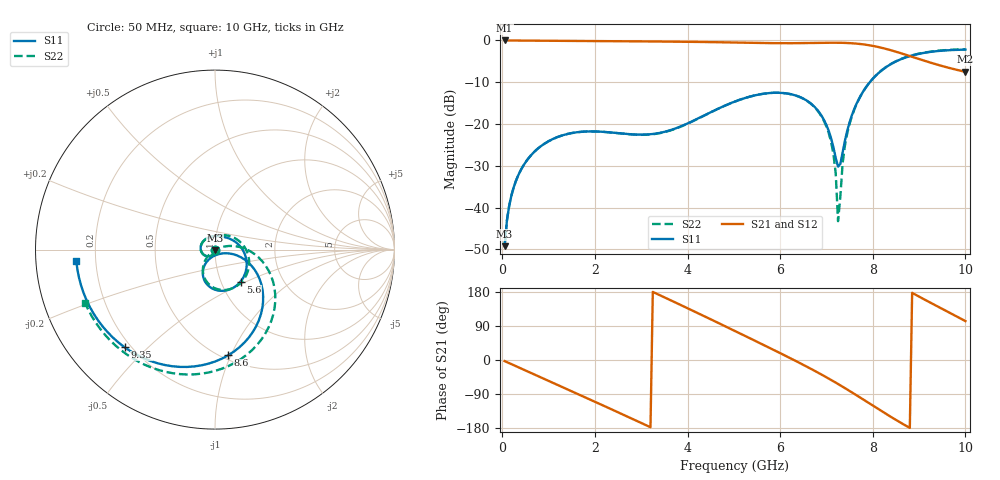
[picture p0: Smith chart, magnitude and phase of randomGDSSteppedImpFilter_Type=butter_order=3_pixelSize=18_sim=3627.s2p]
! freq	dB(S11)	phase(S11)	dB(S12)	phase(S12)
!  dB(S21)	phase(S21)	dB(S22)	phase(S22)
!S-par simulation data
#  GHz  S  DB  R 50
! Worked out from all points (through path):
!   200 points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, 50 MHz to 10 GHz, reference 50 ohm
!   highest |S21| = -0.01 dB at 50 MHz (marker M1); lowest = -7.5 dB at 10 GHz (marker M2)
!   group delay of S21, straight-line fit = 171 ps
!   lowest |S11| = -49.3 dB at 50 MHz (marker M3), VSWR 1.01, Z = 50 - j0.344 ohm
!   |S11| at or under -10 dB: start of sweep to 7.936 GHz
!   |S22| runs from -49.2 to -2.1 dB; largest |S21 - S12| = 0
!   S11 on the Smith chart (normalised r, x): 50 MHz: 1.00, -0.01; 5.6 GHz: 1.23, -0.46; 8.6 GHz: 0.54, -0.98; 9.35 GHz: 0.18, -0.43; 10 GHz: 0.13, -0.04
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0.05  -49.26 -90.1  -0.01 -2.8  -0.01 -2.8  -49.18 -90.6
0.2  -36.98 -99.6  -0.02 -11.1  -0.02 -11.1  -36.99 -99.5
0.5  -29.20 -117.4  -0.04 -27.6  -0.04 -27.6  -29.19 -117.0
1.15  -23.32 -154.8  -0.10 -63.3  -0.10 -63.3  -23.32 -153.5
1.75  -21.84 170.7  -0.14 -96.4  -0.14 -96.4  -21.85 173.6
2.65  -22.35 117.2  -0.20 -146.4  -0.20 -146.4  -22.38 125.6
3.4  -22.14 71.4  -0.26 171.2  -0.26 171.2  -22.20 85.9
4.3  -18.29 20.4  -0.37 119.2  -0.37 119.2  -18.32 34.8
5.05  -14.51 -20.8  -0.51 75.0  -0.51 75.0  -14.52 -9.9
5.6  -12.83 -51.4  -0.62 42.2  -0.62 42.2  -12.83 -43.0
6.15  -12.70 -82.3  -0.67 9.0  -0.67 9.0  -12.71 -76.2
6.7  -15.46 -112.6  -0.61 -25.6  -0.61 -25.6  -15.52 -110.6
7.1  -23.43 -122.4  -0.55 -52.6  -0.55 -52.6  -24.28 -136.2
7.2  -28.14 -105.4  -0.55 -59.7  -0.55 -59.7  -31.83 -140.3
7.25  -30.21 -80.6  -0.55 -63.3  -0.55 -63.3  -43.27 -127.7
7.4  -23.95 -18.6  -0.59 -74.2  -0.59 -74.2  -25.08 18.0
7.55  -17.88 -14.9  -0.68 -85.5  -0.68 -85.5  -18.11 8.1
7.9  -10.50 -33.5  -1.11 -112.5  -1.11 -112.5  -10.50 -18.0
8.35  -5.94 -65.2  -2.22 -147.0  -2.22 -147.0  -5.91 -51.8
8.6  -4.53 -82.9  -3.04 -165.3  -3.04 -165.3  -4.49 -69.7
9.35  -2.60 -132.7  -5.66 144.5  -5.66 144.5  -2.54 -118.2
10  -2.21 -175.3  -7.52 102.7  -7.52 102.7  -2.13 -157.5
